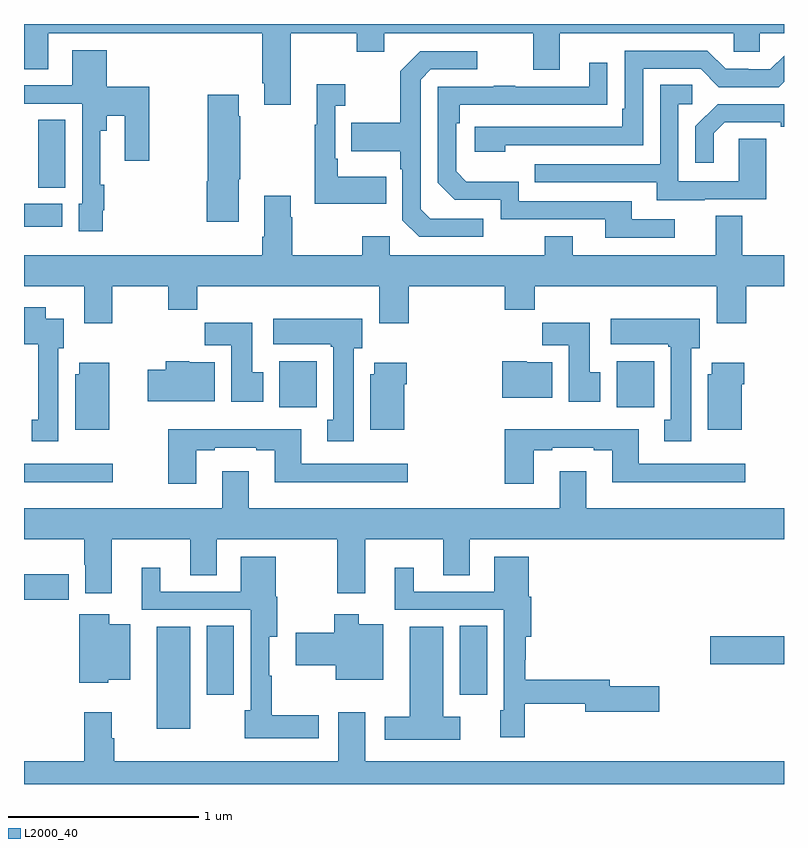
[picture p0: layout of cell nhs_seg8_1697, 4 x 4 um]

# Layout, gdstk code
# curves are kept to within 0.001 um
import gdstk
lib = gdstk.Library(unit=1e-6, precision=1e-09)
def R(c, l, rs):  # rectangles x0, y0, x1, y1
    for r in rs: c.add(gdstk.rectangle(r[:2], r[2:], *l))
def P(c, l, *ps):  # polygons
    for p in ps: c.add(gdstk.Polygon(p, *l))
L2000_40 = (2000, 40)

nhs_seg8_1697 = lib.new_cell('nhs_seg8_1697')
R(nhs_seg8_1697, L2000_40, [(219.698,1094.192,219.874,1094.728), (219.962,1094.37,220.105,1094.732), (221.294,1094.37,221.437,1094.732), (222.612,1094.531,223,1094.678), (219,1094.87,219.235,1095.004), (219,1095.488,219.466,1095.585), (220.343,1095.884,220.54,1096.126), (222.119,1095.884,222.316,1096.126), (219,1096.832,219.202,1096.954), (219.074,1097.039,219.217,1097.396)])
P(nhs_seg8_1697, L2000_40, [(220.405,1097.852),(220.75,1097.852),(220.75,1097.753),(220.897,1097.753),(220.897,1097.852),(221.681,1097.852),(221.681,1097.658),(221.821,1097.658),(221.821,1097.852),(222.735,1097.852),(222.735,1097.754),(222.873,1097.754),(222.873,1097.852),(223,1097.852),(223,1097.9),(219,1097.9),(219,1097.662),(219.127,1097.662),(219.127,1097.852),(220.253,1097.852),(220.253,1097.587),(220.265,1097.587),(220.265,1097.475),(220.405,1097.475)],
  [(219.415,1096.921),(219.422,1096.921),(219.422,1097.053),(219.402,1097.053),(219.402,1097.339),(219.436,1097.339),(219.436,1097.417),(219.53,1097.417),(219.53,1097.181),(219.66,1097.181),(219.66,1097.569),(219.436,1097.569),(219.436,1097.761),(219.254,1097.761),(219.254,1097.577),(219,1097.577),(219,1097.481),(219.306,1097.481),(219.306,1096.953),(219.287,1096.953),(219.287,1096.809),(219.415,1096.809)],
  [(221.534,1097.262),(222.258,1097.262),(222.258,1097.664),(222.561,1097.664),(222.657,1097.568),(222.972,1097.568),(223,1097.596),(223,1097.734),(222.927,1097.661),(222.812,1097.661),(222.812,1097.664),(222.693,1097.664),(222.597,1097.76),(222.162,1097.76),(222.162,1097.455),(222.149,1097.455),(222.149,1097.358),(221.373,1097.358),(221.373,1097.228),(221.534,1097.228)],
  [(221.416,1096.875),(221.139,1096.875),(221.088,1096.926),(221.088,1097.607),(221.142,1097.661),(221.386,1097.661),(221.386,1097.757),(221.085,1097.757),(220.98,1097.651),(220.98,1097.379),(220.723,1097.379),(220.723,1097.231),(220.98,1097.231),(220.98,1097.135),(220.992,1097.135),(220.992,1096.866),(221.079,1096.779),(221.416,1096.779)],
  [(222.424,1096.872),(222.199,1096.872),(222.199,1096.968),(221.604,1096.968),(221.604,1097.071),(221.327,1097.071),(221.274,1097.124),(221.274,1097.378),(221.294,1097.378),(221.294,1097.475),(222.071,1097.476),(222.071,1097.695),(221.975,1097.695),(221.975,1097.571),(221.585,1097.571),(221.585,1097.576),(221.473,1097.576),(221.473,1097.571),(221.178,1097.571),(221.178,1097.064),(221.268,1096.974),(221.508,1096.974),(221.508,1096.872),(222.059,1096.872),(222.059,1096.776),(222.424,1096.776)],
  [(220.907,1097.095),(220.651,1097.095),(220.651,1097.191),(220.638,1097.191),(220.638,1097.471),(220.69,1097.471),(220.69,1097.584),(220.541,1097.584),(220.541,1097.371),(220.53,1097.371),(220.53,1096.955),(220.907,1096.955)],
  [(222.583,1096.977),(222.907,1096.977),(222.907,1097.297),(222.762,1097.297),(222.762,1097.073),(222.444,1097.073),(222.444,1097.478),(222.517,1097.478),(222.517,1097.579),(222.348,1097.579),(222.348,1097.163),(221.689,1097.163),(221.689,1097.067),(222.329,1097.067),(222.329,1096.973),(222.583,1096.973)],
  [(220.129,1097.083),(220.137,1097.083),(220.137,1097.414),(220.129,1097.414),(220.129,1097.527),(219.967,1097.527),(219.967,1097.072),(219.962,1097.072),(219.962,1096.86),(220.129,1096.86)],
  [(222.631,1097.325),(222.688,1097.382),(222.983,1097.382),(222.983,1097.36),(223,1097.36),(223,1097.478),(222.65,1097.478),(222.534,1097.362),(222.534,1097.169),(222.631,1097.169)],
  [(219.465,1096.52),(219.76,1096.52),(219.76,1096.396),(219.911,1096.396),(219.911,1096.52),(220.871,1096.52),(220.871,1096.326),(221.024,1096.326),(221.024,1096.52),(221.531,1096.52),(221.531,1096.396),(221.687,1096.396),(221.687,1096.52),(222.647,1096.52),(222.647,1096.326),(222.8,1096.326),(222.8,1096.52),(223,1096.52),(223,1096.684),(222.781,1096.684),(222.781,1096.892),(222.641,1096.892),(222.641,1096.684),(221.887,1096.684),(221.887,1096.783),(221.74,1096.783),(221.74,1096.684),(220.926,1096.684),(220.926,1096.783),(220.78,1096.783),(220.78,1096.684),(220.413,1096.684),(220.413,1096.883),(220.405,1096.883),(220.405,1096.996),(220.265,1096.996),(220.265,1096.78),(220.253,1096.78),(220.253,1096.684),(219,1096.684),(219,1096.52),(219.317,1096.52),(219.317,1096.326),(219.465,1096.326)],
  [(219.181,1096.194),(219.208,1096.194),(219.208,1096.348),(219.115,1096.348),(219.115,1096.408),(219,1096.408),(219,1096.214),(219.074,1096.214),(219.074,1095.818),(219.041,1095.818),(219.041,1095.705),(219.181,1095.705)],
  [(222.511,1096.194),(222.556,1096.194),(222.556,1096.348),(222.087,1096.348),(222.087,1096.214),(222.391,1096.214),(222.391,1096.201),(222.404,1096.201),(222.404,1095.818),(222.371,1095.818),(222.371,1095.705),(222.511,1095.705)],
  [(220.735,1096.194),(220.78,1096.194),(220.78,1096.348),(220.311,1096.348),(220.311,1096.214),(220.615,1096.214),(220.615,1096.201),(220.628,1096.201),(220.628,1095.818),(220.595,1095.818),(220.595,1095.705),(220.735,1095.705)],
  [(222.034,1096.068),(221.977,1096.068),(221.977,1096.327),(221.728,1096.327),(221.728,1096.208),(221.867,1096.208),(221.867,1095.912),(222.034,1095.912)],
  [(220.258,1096.068),(220.201,1096.068),(220.201,1096.327),(219.952,1096.327),(219.952,1096.208),(220.091,1096.208),(220.091,1095.912),(220.258,1095.912)],
  [(220.003,1096.12),(219.87,1096.12),(219.87,1096.126),(219.745,1096.126),(219.745,1096.08),(219.651,1096.08),(219.651,1095.914),(220.003,1095.914)],
  [(221.779,1096.12),(221.646,1096.12),(221.646,1096.126),(221.516,1096.126),(221.516,1095.932),(221.779,1095.932)],
  [(222.778,1096.004),(222.791,1096.004),(222.791,1096.117),(222.62,1096.117),(222.62,1096.056),(222.599,1096.056),(222.599,1095.764),(222.778,1095.764)],
  [(219.448,1096.117),(219.29,1096.117),(219.29,1096.056),(219.269,1096.056),(219.269,1095.764),(219.448,1095.764)],
  [(221.002,1096.004),(221.015,1096.004),(221.015,1096.117),(220.844,1096.117),(220.844,1096.056),(220.823,1096.056),(220.823,1095.764),(221.002,1095.764)],
  [(219.907,1095.657),(220.003,1095.657),(220.003,1095.669),(220.223,1095.669),(220.223,1095.657),(220.319,1095.657),(220.319,1095.488),(221.02,1095.488),(221.02,1095.585),(220.459,1095.585),(220.459,1095.766),(219.76,1095.766),(219.76,1095.48),(219.907,1095.48)],
  [(221.683,1095.657),(221.779,1095.657),(221.779,1095.669),(221.999,1095.669),(221.999,1095.657),(222.095,1095.657),(222.095,1095.488),(222.796,1095.488),(222.796,1095.585),(222.235,1095.585),(222.235,1095.766),(221.531,1095.766),(221.531,1095.48),(221.683,1095.48)],
  [(219.463,1095.188),(219.875,1095.188),(219.875,1094.998),(220.015,1094.998),(220.015,1095.188),(220.648,1095.188),(220.648,1094.904),(220.795,1094.904),(220.795,1095.188),(221.207,1095.188),(221.207,1094.998),(221.347,1094.998),(221.347,1095.188),(223,1095.188),(223,1095.352),(221.959,1095.352),(221.959,1095.547),(221.819,1095.547),(221.819,1095.352),(220.183,1095.352),(220.183,1095.547),(220.043,1095.547),(220.043,1095.352),(219,1095.352),(219,1095.188),(219.316,1095.188),(219.316,1095.054),(219.323,1095.054),(219.323,1094.904),(219.463,1094.904)],
  [(221.635,1094.322),(221.954,1094.322),(221.954,1094.279),(222.343,1094.279),(222.343,1094.414),(222.082,1094.414),(222.082,1094.45),(221.638,1094.45),(221.638,1094.553),(221.642,1094.553),(221.642,1094.675),(221.669,1094.675),(221.669,1094.886),(221.656,1094.886),(221.656,1095.097),(221.474,1095.097),(221.474,1094.913),(221.05,1094.913),(221.05,1095.037),(220.952,1095.037),(220.952,1094.817),(221.526,1094.817),(221.526,1094.289),(221.507,1094.289),(221.507,1094.145),(221.635,1094.145)],
  [(220.552,1094.263),(220.303,1094.263),(220.303,1094.469),(220.291,1094.469),(220.291,1094.675),(220.332,1094.675),(220.332,1094.886),(220.324,1094.886),(220.324,1095.097),(220.142,1095.097),(220.142,1094.913),(219.718,1094.913),(219.718,1095.037),(219.62,1095.037),(219.62,1094.817),(220.194,1094.817),(220.194,1094.289),(220.163,1094.289),(220.163,1094.141),(220.552,1094.141)],
  [(220.891,1094.74),(220.762,1094.74),(220.762,1094.794),(220.633,1094.794),(220.633,1094.696),(220.431,1094.696),(220.431,1094.525),(220.64,1094.525),(220.64,1094.45),(220.891,1094.45)],
  [(219.444,1094.45),(219.559,1094.45),(219.559,1094.74),(219.448,1094.74),(219.448,1094.794),(219.29,1094.794),(219.29,1094.432),(219.444,1094.432)],
  [(221.296,1094.254),(221.206,1094.254),(221.206,1094.728),(221.03,1094.728),(221.03,1094.254),(220.899,1094.254),(220.899,1094.132),(221.296,1094.132)],
  [(223,1094.02),(220.795,1094.02),(220.795,1094.278),(220.655,1094.278),(220.655,1094.02),(219.476,1094.02),(219.476,1094.141),(219.463,1094.141),(219.463,1094.278),(219.316,1094.278),(219.316,1094.02),(219,1094.02),(219,1093.9),(223,1093.9)])

lib.write_gds('nhs_seg8_1697.gds')
